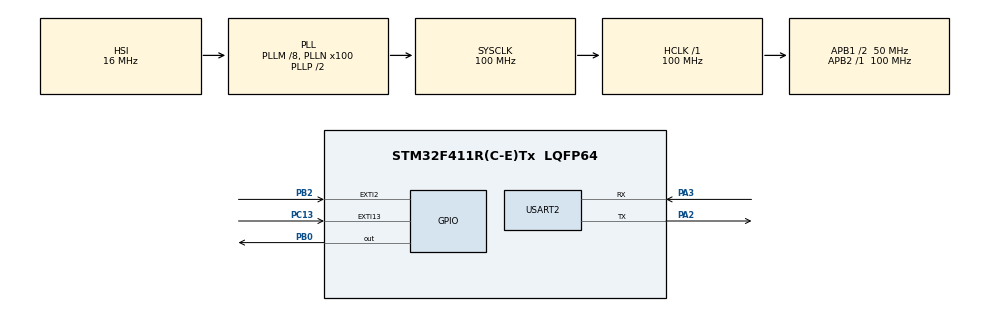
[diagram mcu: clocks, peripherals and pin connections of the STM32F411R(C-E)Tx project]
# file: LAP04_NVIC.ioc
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Mcu.Family=STM32F4
Mcu.Name=STM32F411R(C-E)Tx
Mcu.Package=LQFP64
NVIC.EXTI15_10_IRQn=true\:3\:1\:true\:false\:true\:true\:true
NVIC.EXTI2_IRQn=true\:2\:3\:true\:false\:true\:true\:true
NVIC.PriorityGroup=NVIC_PRIORITYGROUP_2
PA2.Mode=Asynchronous
PA2.Signal=USART2_TX
PA3.Mode=Asynchronous
PA3.Signal=USART2_RX
PB0.Signal=GPIO_Output
PB2.GPIO_ModeDefaultEXTI=GPIO_MODE_IT_RISING
PB2.Signal=GPXTI2
PC13-ANTI_TAMP.GPIO_ModeDefaultEXTI=GPIO_MODE_IT_FALLING
PC13-ANTI_TAMP.Signal=GPXTI13
ProjectManager.HeapSize=0x200
ProjectManager.StackSize=0x400
ProjectManager.TargetToolchain=MDK-ARM V5.27
RCC.48MHZClocksFreq_Value=50000000
RCC.AHBFreq_Value=100000000
RCC.APB1CLKDivider=RCC_HCLK_DIV2
RCC.APB1Freq_Value=50000000
RCC.APB1TimFreq_Value=100000000
RCC.APB2Freq_Value=100000000
RCC.APB2TimFreq_Value=100000000
RCC.CortexFreq_Value=100000000
RCC.FLatency-AdvancedSettings=FLASH_LATENCY_3
RCC.HCLKFreq_Value=100000000
RCC.HSE_VALUE=8000000
RCC.HSI_VALUE=16000000
RCC.LSE_VALUE=32768
RCC.PLLM=8
RCC.PLLN=100
RCC.SYSCLKFreq_VALUE=100000000
RCC.SYSCLKSource=RCC_SYSCLKSOURCE_PLLCLK
RCC.VCOOutputFreq_Value=200000000
USART2.VirtualMode=VM_ASYNC
board=NUCLEO-F411RE

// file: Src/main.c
/* USER CODE BEGIN Header */
/**
  ******************************************************************************
  * @file           : main.c
  * @brief          : Main program body
  ******************************************************************************
  * @attention
  *
  * <h2><center>&copy; Copyright (c) 2020 STMicroelectronics.
  * All rights reserved.</center></h2>
  *
  * This software component is licensed by ST under BSD 3-Clause license,
  * the "License"; You may not use this file except in compliance with the
  * License. You may obtain a copy of the License at:
  *                        opensource.org/licenses/BSD-3-Clause
  *
  ******************************************************************************
  */
/* USER CODE END Header */

#include "main.h"
#include "usart.h"
#include "gpio.h"

void SystemClock_Config(void);

/* USER CODE BEGIN 0 */
extern UART_HandleTypeDef huart2;
/* USER CODE END 0 */

int main(void)
{

  /* MCU Configuration--------------------------------------------------------*/

  /* Reset of all peripherals, Initializes the Flash interface and the Systick. */
  HAL_Init();

  /* Configure the system clock */
  SystemClock_Config();

  /* Initialize all configured peripherals */
  MX_GPIO_Init();
  MX_USART2_UART_Init();

  /* Infinite loop */
  while (1)
  {

    /* USER CODE BEGIN 3 */

		HAL_UART_Transmit(&huart2, (uint8_t *) ".",1,100);
		HAL_Delay(400);
  }
  /* USER CODE END 3 */
}

void SystemClock_Config(void)
{
  RCC_OscInitTypeDef RCC_OscInitStruct = {0};
  RCC_ClkInitTypeDef RCC_ClkInitStruct = {0};

  /** Configure the main internal regulator output voltage
  */
  __HAL_RCC_PWR_CLK_ENABLE();
  __HAL_PWR_VOLTAGESCALING_CONFIG(PWR_REGULATOR_VOLTAGE_SCALE1);
  /** Initializes the CPU, AHB and APB busses clocks
  */
  RCC_OscInitStruct.OscillatorType = RCC_OSCILLATORTYPE_HSI;
  RCC_OscInitStruct.HSIState = RCC_HSI_ON;
  RCC_OscInitStruct.HSICalibrationValue = RCC_HSICALIBRATION_DEFAULT;
  RCC_OscInitStruct.PLL.PLLState = RCC_PLL_ON;
  RCC_OscInitStruct.PLL.PLLSource = RCC_PLLSOURCE_HSI;
  RCC_OscInitStruct.PLL.PLLM = 8;
  RCC_OscInitStruct.PLL.PLLN = 100;
  RCC_OscInitStruct.PLL.PLLP = RCC_PLLP_DIV2;
  RCC_OscInitStruct.PLL.PLLQ = 4;
  if (HAL_RCC_OscConfig(&RCC_OscInitStruct) != HAL_OK)
  {
    Error_Handler();
  }
  /** Initializes the CPU, AHB and APB busses clocks
  */
  RCC_ClkInitStruct.ClockType = RCC_CLOCKTYPE_HCLK|RCC_CLOCKTYPE_SYSCLK
                              |RCC_CLOCKTYPE_PCLK1|RCC_CLOCKTYPE_PCLK2;
  RCC_ClkInitStruct.SYSCLKSource = RCC_SYSCLKSOURCE_PLLCLK;
  RCC_ClkInitStruct.AHBCLKDivider = RCC_SYSCLK_DIV1;
  RCC_ClkInitStruct.APB1CLKDivider = RCC_HCLK_DIV2;
  RCC_ClkInitStruct.APB2CLKDivider = RCC_HCLK_DIV1;

  if (HAL_RCC_ClockConfig(&RCC_ClkInitStruct, FLASH_LATENCY_3) != HAL_OK)
  {
    Error_Handler();
  }
}

/* USER CODE BEGIN 4 */
void HAL_GPIO_EXTI_Callback(uint16_t GPIO_Pin)
{
	//send --- and "B" 20 charecter
	if(GPIO_Pin == GPIO_PIN_13)
	{
		HAL_UART_Transmit(&huart2, (uint8_t *) "---",3,100);
		for(int i=0; i<20; i++){
			HAL_UART_Transmit(&huart2, (uint8_t *) "B",1,100);
			HAL_Delay(200);
		}
	}
	//Send --- and "E" 20 charecter and toggle LED0(pb0)
	if(GPIO_Pin == GPIO_PIN_2){
		HAL_UART_Transmit(&huart2, (uint8_t *) "---",3,100);
		for(int i=0; i<20; i++){
			HAL_UART_Transmit(&huart2, (uint8_t *) "E",1,100);
			HAL_GPIO_TogglePin(GPIOB, GPIO_PIN_0);
			HAL_Delay(200);
		}
	}
}
/* USER CODE END 4 */

void Error_Handler(void)
{
}

/************************ (C) COPYRIGHT STMicroelectronics *****END OF FILE****/
